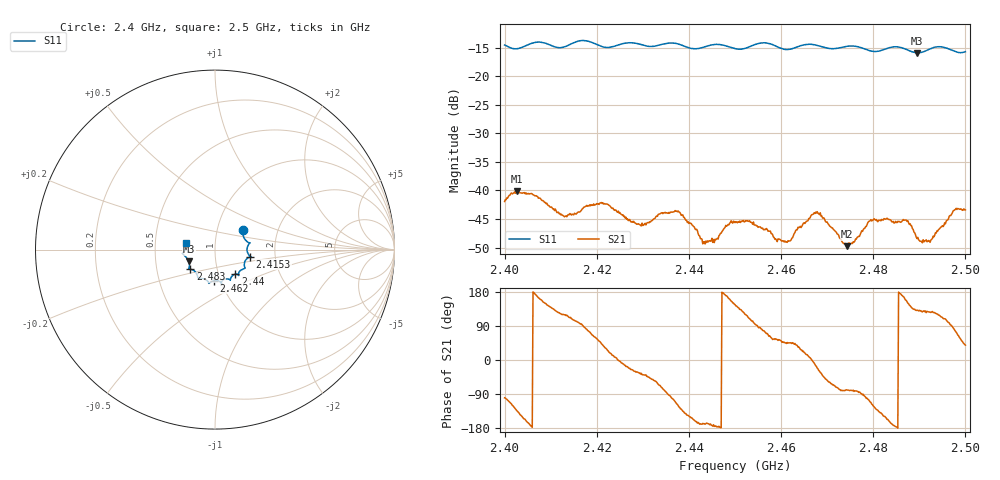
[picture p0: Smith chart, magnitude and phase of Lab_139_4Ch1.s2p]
# Hz S RI R 50
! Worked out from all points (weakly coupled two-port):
!   601 points, 2.4 GHz to 2.5 GHz, reference 50 ohm
!   highest |S21| = -40.17 dB at 2.4027 GHz (marker M1); lowest = -49.8 dB at 2.4743 GHz (marker M2)
!   lowest |S11| = -15.9 dB at 2.4895 GHz (marker M3), VSWR 1.38, Z = 36.9 - j5.02 ohm
!   |S11| at or under -10 dB: start of sweep to end of sweep
!   S12 and S22 are empty: the file has one direction only
!   S11 on the Smith chart (normalised r, x): 2.4 GHz: 1.33, +0.29; 2.4153 GHz: 1.48, -0.12; 2.44 GHz: 1.21, -0.34; 2.462 GHz: 0.93, -0.33; 2.483 GHz: 0.74, -0.17; 2.5 GHz: 0.72, +0.06
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2.4e9  0.1555 0.1065  -0.00136 -0.00789  0 0  0 0
2.402667e9  0.1624 0.0641  -0.00677 -0.0071  0 0  0 0
2.415333e9  0.1959 -0.0386  -0.0014 0.00609  0 0  0 0
2.416667e9  0.2016 -0.0425  -0.000606 0.00668  0 0  0 0
2.421833e9  0.1685 -0.0619  0.00647 0.00402  0 0  0 0
2.429167e9  0.1606 -0.1062  0.00418 -0.00284  0 0  0 0
2.433333e9  0.1312 -0.1335  0.00269 -0.00555  0 0  0 0
2.4375e9  0.1311 -0.1419  -0.00298 -0.00578  0 0  0 0
2.44e9  0.1141 -0.1366  -0.00434 -0.00274  0 0  0 0
2.4435e9  0.0875 -0.1595  -0.00334 -0.000618  0 0  0 0
2.45e9  0.0645 -0.1628  -0.00434 0.00291  0 0  0 0
2.462e9  -0.00518 -0.1731  0.00253 0.00259  0 0  0 0
2.466667e9  -0.0344 -0.1876  0.00613 7.04e-05  0 0  0 0
2.474333e9  -0.0895 -0.1602  0.000598 -0.00319  0 0  0 0
2.479333e9  -0.105 -0.1305  -0.00193 -0.00508  0 0  0 0
2.483e9  -0.1373 -0.1099  -0.00525 -0.00225  0 0  0 0
2.483333e9  -0.1398 -0.1095  -0.00523 -0.00193  0 0  0 0
2.487167e9  -0.1433 -0.0957  -0.00508 0.00211  0 0  0 0
2.4895e9  -0.1464 -0.0662  -0.00252 0.00283  0 0  0 0
2.492167e9  -0.1697 -0.0335  -0.00216 0.00289  0 0  0 0
2.4975e9  -0.1668 -0.000955  0.000853 0.00662  0 0  0 0
2.5e9  -0.1598 0.0391  0.00523 0.00426  0 0  0 0
